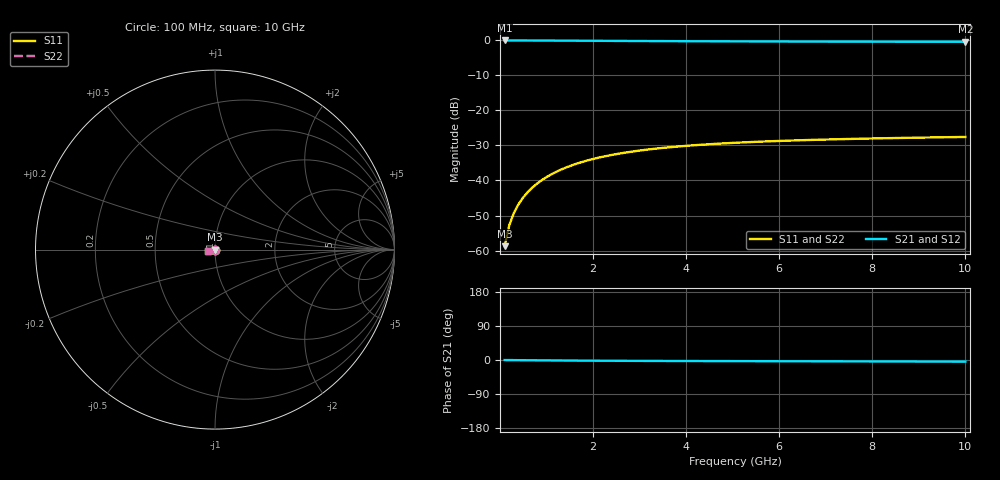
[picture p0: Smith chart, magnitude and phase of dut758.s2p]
! Touchstone file exported from HFSS 2024.1.0
!  File:  C:/UserFiles/LocalFiles/RDL_TSV_Batchsim/temp_TSV1_758_1779872065.aedt
!  Generated:  05:03:36 PM May 27, 2026
!  Design:  TSV1
!  Project:  temp_TSV1_758_1779872065
!  Setup:  Setup1
!  Solution:  Sweep
! Variables:
!  dtsv = 11.68um
!  hbump = 3um
!  htsv = 64.61um
!  lrdl = 252.1521522um
!  p = 40
!  p1 = 48.57um
!  t = 500um
!  trdl = 3um
!  wrdl = 24.89489489um
# GHz S MA R 50.000000
! Terminal data exported
! Port[1] = TSV22_T1
! Port[2] = TSV22_T2
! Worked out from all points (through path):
!   100 points, 100 MHz to 10 GHz, reference 50 ohm
!   highest |S21| = 0.00 dB at 100 MHz (marker M1); lowest = -0.4 dB at 10 GHz (marker M2)
!   lowest |S11| = -58.8 dB at 100 MHz (marker M3), VSWR 1.00, Z = 50 - j0.115 ohm
!   |S11| at or under -10 dB: start of sweep to end of sweep
!   |S22| runs from -58.8 to -27.6 dB; largest |S21 - S12| = 7.3e-15
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0.1  0.001153 -87.0  0.9999 -0.1  0.9999 -0.1  0.001153 -87.0
! Gamma 0 0 0 0
! Port Impedance 50 0 50 0
0.2  0.002302 -90.9  0.9998 -0.2  0.9998 -0.2  0.002302 -90.9
0.3  0.003451 -93.3  0.9996 -0.3  0.9996 -0.3  0.003451 -93.3
0.4  0.004596 -95.4  0.9993 -0.4  0.9993 -0.4  0.004596 -95.4
0.5  0.005732 -97.3  0.999 -0.5  0.999 -0.5  0.005732 -97.3
0.6  0.006856 -99.1  0.9986 -0.6  0.9986 -0.6  0.006856 -99.1
0.7  0.007965 -100.9  0.9982 -0.7  0.9982 -0.7  0.007965 -100.9
0.8  0.009057 -102.7  0.9977 -0.8  0.9977 -0.8  0.009057 -102.7
0.9  0.01013 -104.4  0.9972 -0.9  0.9972 -0.9  0.01013 -104.4
1.1  0.01221 -107.7  0.996 -1.1  0.996 -1.1  0.01221 -107.7
1.4  0.01514 -112.4  0.9939 -1.4  0.9939 -1.4  0.01514 -112.4
1.6  0.01696 -115.4  0.9924 -1.5  0.9924 -1.5  0.01696 -115.4
1.8  0.01867 -118.2  0.9909 -1.7  0.9909 -1.7  0.01867 -118.2
2.1  0.02103 -122.3  0.9885 -1.8  0.9885 -1.8  0.02103 -122.3
2.5  0.02381 -127.2  0.9854 -2.1  0.9854 -2.1  0.02381 -127.2
2.9  0.02621 -131.7  0.9824 -2.3  0.9824 -2.3  0.02621 -131.7
3.4  0.02875 -136.6  0.9789 -2.5  0.9789 -2.5  0.02875 -136.6
4.2  0.03196 -143.5  0.9741 -2.8  0.9741 -2.8  0.03196 -143.5
5.1  0.03466 -149.8  0.9698 -3.0  0.9698 -3.0  0.03466 -149.8
6.7  0.03798 -158.7  0.9641 -3.4  0.9641 -3.4  0.03798 -158.7
8.4  0.04029 -166.1  0.9602 -3.9  0.9602 -3.9  0.04029 -166.1
10  0.04186 -171.8  0.9576 -4.3  0.9576 -4.3  0.04186 -171.8
